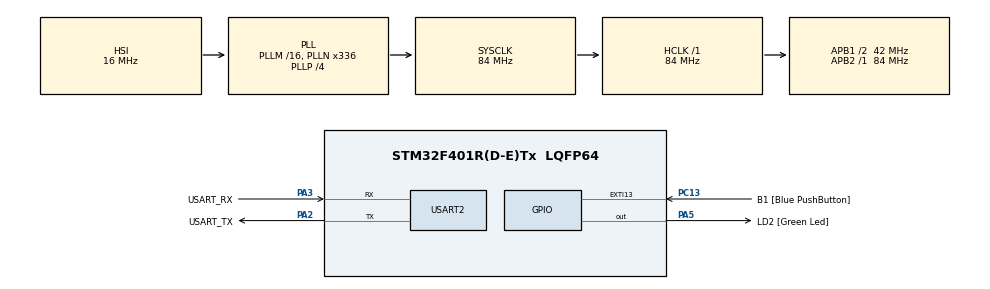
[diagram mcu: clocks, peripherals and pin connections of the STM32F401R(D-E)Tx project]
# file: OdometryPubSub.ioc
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Dma.Request0=USART2_RX
Dma.Request1=USART2_TX
Dma.USART2_RX.0.Direction=DMA_PERIPH_TO_MEMORY
Dma.USART2_RX.0.FIFOMode=DMA_FIFOMODE_DISABLE
Dma.USART2_RX.0.Instance=DMA1_Stream5
Dma.USART2_RX.0.MemDataAlignment=DMA_MDATAALIGN_BYTE
Dma.USART2_RX.0.MemInc=DMA_MINC_ENABLE
Dma.USART2_RX.0.Mode=DMA_CIRCULAR
Dma.USART2_RX.0.PeriphDataAlignment=DMA_PDATAALIGN_BYTE
Dma.USART2_RX.0.PeriphInc=DMA_PINC_DISABLE
Dma.USART2_RX.0.Priority=DMA_PRIORITY_VERY_HIGH
Dma.USART2_TX.1.Direction=DMA_MEMORY_TO_PERIPH
Dma.USART2_TX.1.FIFOMode=DMA_FIFOMODE_DISABLE
Dma.USART2_TX.1.Instance=DMA1_Stream6
Dma.USART2_TX.1.MemDataAlignment=DMA_MDATAALIGN_BYTE
Dma.USART2_TX.1.MemInc=DMA_MINC_ENABLE
Dma.USART2_TX.1.Mode=DMA_NORMAL
Dma.USART2_TX.1.PeriphDataAlignment=DMA_PDATAALIGN_BYTE
Dma.USART2_TX.1.PeriphInc=DMA_PINC_DISABLE
Dma.USART2_TX.1.Priority=DMA_PRIORITY_VERY_HIGH
FREERTOS.Tasks01=defaultTask,24,3000,StartDefaultTask,Default,NULL,Dynamic,NULL,NULL
Mcu.Family=STM32F4
Mcu.Name=STM32F401R(D-E)Tx
Mcu.Package=LQFP64
NVIC.DMA1_Stream5_IRQn=true\:5\:0\:false\:false\:true\:true\:false\:true\:true
NVIC.DMA1_Stream6_IRQn=true\:5\:0\:false\:false\:true\:true\:false\:true\:true
NVIC.PriorityGroup=NVIC_PRIORITYGROUP_4
NVIC.USART2_IRQn=true\:5\:0\:false\:false\:true\:true\:true\:true\:true
PA13.GPIO_Label=TMS
PA13.Mode=Serial_Wire
PA13.Signal=SYS_JTMS-SWDIO
PA14.GPIO_Label=TCK
PA14.Mode=Serial_Wire
PA14.Signal=SYS_JTCK-SWCLK
PA2.GPIO_Label=USART_TX
PA2.GPIO_Mode=GPIO_MODE_AF_PP
PA2.GPIO_PuPd=GPIO_NOPULL
PA2.GPIO_Speed=GPIO_SPEED_FREQ_LOW
PA2.Mode=Asynchronous
PA2.Signal=USART2_TX
PA3.GPIO_Label=USART_RX
PA3.GPIO_Mode=GPIO_MODE_AF_PP
PA3.GPIO_PuPd=GPIO_NOPULL
PA3.GPIO_Speed=GPIO_SPEED_FREQ_LOW
PA3.Mode=Asynchronous
PA3.Signal=USART2_RX
PA5.GPIO_Label=LD2 [Green Led]
PA5.GPIO_Mode=GPIO_MODE_OUTPUT_PP
PA5.GPIO_PuPd=GPIO_NOPULL
PA5.GPIO_Speed=GPIO_SPEED_FREQ_LOW
PA5.Signal=GPIO_Output
PB3.GPIO_Label=SWO
PB3.Signal=SYS_JTDO-SWO
PC13-ANTI_TAMP.GPIO_Label=B1 [Blue PushButton]
PC13-ANTI_TAMP.GPIO_ModeDefaultEXTI=GPIO_MODE_IT_FALLING
PC13-ANTI_TAMP.GPIO_PuPd=GPIO_NOPULL
PC13-ANTI_TAMP.Signal=GPXTI13
PC14-OSC32_IN.Mode=LSE-External-Oscillator
PC14-OSC32_IN.Signal=RCC_OSC32_IN
PC15-OSC32_OUT.Mode=LSE-External-Oscillator
PC15-OSC32_OUT.Signal=RCC_OSC32_OUT
PH0\ -\ OSC_IN.Mode=HSE-External-Oscillator
PH0\ -\ OSC_IN.Signal=RCC_OSC_IN
PH1\ -\ OSC_OUT.Mode=HSE-External-Oscillator
PH1\ -\ OSC_OUT.Signal=RCC_OSC_OUT
ProjectManager.HeapSize=0x200
ProjectManager.StackSize=0x400
ProjectManager.TargetToolchain=STM32CubeIDE
RCC.48MHZClocksFreq_Value=48000000
RCC.AHBFreq_Value=84000000
RCC.APB1CLKDivider=RCC_HCLK_DIV2
RCC.APB1Freq_Value=42000000
RCC.APB1TimFreq_Value=84000000
RCC.APB2Freq_Value=84000000
RCC.APB2TimFreq_Value=84000000
RCC.CortexFreq_Value=84000000
RCC.HCLKFreq_Value=84000000
RCC.HSE_VALUE=8000000
RCC.HSI_VALUE=16000000
RCC.PLLN=336
RCC.PLLP=RCC_PLLP_DIV4
RCC.PLLQ=7
RCC.SYSCLKFreq_VALUE=84000000
RCC.SYSCLKSource=RCC_SYSCLKSOURCE_PLLCLK
RCC.VCOOutputFreq_Value=336000000
USART2.VirtualMode=VM_ASYNC
VP_FREERTOS_VS_CMSIS_V2.Mode=CMSIS_V2
board=NUCLEO-F401RE

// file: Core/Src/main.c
/* USER CODE BEGIN Header */
/**
  ******************************************************************************
  * @file           : main.c
  * @brief          : Main program body
  ******************************************************************************
  * @attention
  *
  * Copyright (c) 2024  * in the root directory of this software component.
  *   * in the root di  * in the root directory of this software component.

  *
  * All rights reserved.
  *
  * This software is licensed under terms that can be found in the LICENSE file
  * in the root directory of this software component.
  * If no LICENSE file comes with this software, it is provided AS-IS.
  *
  ******************************************************************************
  */
/* USER CODE END Header */
#include "main.h"
#include "cmsis_os.h"

/* USER CODE BEGIN Includes */
#include <rcl/rcl.h>
#include <rcl/error_handling.h>
#include <rclc/rclc.h>
#include <rclc/executor.h>
#include <uxr/client/transport.h>
#include <rmw_microxrcedds_c/config.h>
#include <rmw_microros/rmw_microros.h>

#include <std_msgs/msg/int32.h>
#include <nav_msgs/msg/odometry.h>
#include <geometry_msgs/msg/pose.h>
#include <geometry_msgs/msg/twist.h>

/* USER CODE END Includes */

UART_HandleTypeDef huart2;
DMA_HandleTypeDef hdma_usart2_rx;
DMA_HandleTypeDef hdma_usart2_tx;

/* Definitions for defaultTask */
osThreadId_t defaultTaskHandle;
const osThreadAttr_t defaultTask_attributes = {
  .name = "defaultTask",
  .stack_size = 3000 * 4,
  .priority = (osPriority_t) osPriorityNormal,
};

void SystemClock_Config(void);
static void MX_GPIO_Init(void);
static void MX_DMA_Init(void);
static void MX_USART2_UART_Init(void);
void StartDefaultTask(void *argument);

int main(void)
{

  /* MCU Configuration--------------------------------------------------------*/

  /* Reset of all peripherals, Initializes the Flash interface and the Systick. */
  HAL_Init();

  /* Configure the system clock */
  SystemClock_Config();

  /* Initialize all configured peripherals */
  MX_GPIO_Init();
  MX_DMA_Init();
  MX_USART2_UART_Init();

  /* Init scheduler */
  osKernelInitialize();

  /* Create the thread(s) */
  /* creation of defaultTask */
  defaultTaskHandle = osThreadNew(StartDefaultTask, NULL, &defaultTask_attributes);

  /* Start scheduler */
  osKernelStart();

  /* We should never get here as control is now taken by the scheduler */

  /* Infinite loop */
  while (1)
  {

  }
}

void SystemClock_Config(void)
{
  RCC_OscInitTypeDef RCC_OscInitStruct = {0};
  RCC_ClkInitTypeDef RCC_ClkInitStruct = {0};

  /** Configure the main internal regulator output voltage
  */
  __HAL_RCC_PWR_CLK_ENABLE();
  __HAL_PWR_VOLTAGESCALING_CONFIG(PWR_REGULATOR_VOLTAGE_SCALE2);

  /** Initializes the RCC Oscillators according to the specified parameters
  * in the RCC_OscInitTypeDef structure.
  */
  RCC_OscInitStruct.OscillatorType = RCC_OSCILLATORTYPE_HSI;
  RCC_OscInitStruct.HSIState = RCC_HSI_ON;
  RCC_OscInitStruct.HSICalibrationValue = RCC_HSICALIBRATION_DEFAULT;
  RCC_OscInitStruct.PLL.PLLState = RCC_PLL_ON;
  RCC_OscInitStruct.PLL.PLLSource = RCC_PLLSOURCE_HSI;
  RCC_OscInitStruct.PLL.PLLM = 16;
  RCC_OscInitStruct.PLL.PLLN = 336;
  RCC_OscInitStruct.PLL.PLLP = RCC_PLLP_DIV4;
  RCC_OscInitStruct.PLL.PLLQ = 7;
  if (HAL_RCC_OscConfig(&RCC_OscInitStruct) != HAL_OK)
  {
    Error_Handler();
  }

  /** Initializes the CPU, AHB and APB buses clocks
  */
  RCC_ClkInitStruct.ClockType = RCC_CLOCKTYPE_HCLK|RCC_CLOCKTYPE_SYSCLK
                              |RCC_CLOCKTYPE_PCLK1|RCC_CLOCKTYPE_PCLK2;
  RCC_ClkInitStruct.SYSCLKSource = RCC_SYSCLKSOURCE_PLLCLK;
  RCC_ClkInitStruct.AHBCLKDivider = RCC_SYSCLK_DIV1;
  RCC_ClkInitStruct.APB1CLKDivider = RCC_HCLK_DIV2;
  RCC_ClkInitStruct.APB2CLKDivider = RCC_HCLK_DIV1;

  if (HAL_RCC_ClockConfig(&RCC_ClkInitStruct, FLASH_LATENCY_2) != HAL_OK)
  {
    Error_Handler();
  }
}

static void MX_USART2_UART_Init(void)
{

  huart2.Instance = USART2;
  huart2.Init.BaudRate = 115200;
  huart2.Init.WordLength = UART_WORDLENGTH_8B;
  huart2.Init.StopBits = UART_STOPBITS_1;
  huart2.Init.Parity = UART_PARITY_NONE;
  huart2.Init.Mode = UART_MODE_TX_RX;
  huart2.Init.HwFlowCtl = UART_HWCONTROL_NONE;
  huart2.Init.OverSampling = UART_OVERSAMPLING_16;
  if (HAL_UART_Init(&huart2) != HAL_OK)
  {
    Error_Handler();
  }

}

static void MX_DMA_Init(void)
{

  /* DMA controller clock enable */
  __HAL_RCC_DMA1_CLK_ENABLE();

  /* DMA interrupt init */
  /* DMA1_Stream5_IRQn interrupt configuration */
  HAL_NVIC_SetPriority(DMA1_Stream5_IRQn, 5, 0);
  HAL_NVIC_EnableIRQ(DMA1_Stream5_IRQn);
  /* DMA1_Stream6_IRQn interrupt configuration */
  HAL_NVIC_SetPriority(DMA1_Stream6_IRQn, 5, 0);
  HAL_NVIC_EnableIRQ(DMA1_Stream6_IRQn);

}

static void MX_GPIO_Init(void)
{
  GPIO_InitTypeDef GPIO_InitStruct = {0};

  /* GPIO Ports Clock Enable */
  __HAL_RCC_GPIOC_CLK_ENABLE();
  __HAL_RCC_GPIOH_CLK_ENABLE();
  __HAL_RCC_GPIOA_CLK_ENABLE();
  __HAL_RCC_GPIOB_CLK_ENABLE();

  /*Configure GPIO pin Output Level */
  HAL_GPIO_WritePin(LD2_GPIO_Port, LD2_Pin, GPIO_PIN_RESET);

  /*Configure GPIO pin : B1_Pin */
  GPIO_InitStruct.Pin = B1_Pin;
  GPIO_InitStruct.Mode = GPIO_MODE_IT_FALLING;
  GPIO_InitStruct.Pull = GPIO_NOPULL;
  HAL_GPIO_Init(B1_GPIO_Port, &GPIO_InitStruct);

  /*Configure GPIO pin : LD2_Pin */
  GPIO_InitStruct.Pin = LD2_Pin;
  GPIO_InitStruct.Mode = GPIO_MODE_OUTPUT_PP;
  GPIO_InitStruct.Pull = GPIO_NOPULL;
  GPIO_InitStruct.Speed = GPIO_SPEED_FREQ_LOW;
  HAL_GPIO_Init(LD2_GPIO_Port, &GPIO_InitStruct);

}

/* USER CODE BEGIN 4 */
bool cubemx_transport_open(struct uxrCustomTransport * transport);
bool cubemx_transport_close(struct uxrCustomTransport * transport);
size_t cubemx_transport_write(struct uxrCustomTransport* transport, const uint8_t * buf, size_t len, uint8_t * err);
size_t cubemx_transport_read(struct uxrCustomTransport* transport, uint8_t* buf, size_t len, int timeout, uint8_t* err);

void * microros_allocate(size_t size, void * state);
void microros_deallocate(void * pointer, void * state);
void * microros_reallocate(void * pointer, size_t size, void * state);
void * microros_zero_allocate(size_t number_of_elements, size_t size_of_element, void * state);

rcl_publisher_t odometry_publisher;
geometry_msgs__msg__Twist odometry_msg ;

void subscription_callback(const void * msgin){
	    // Cast received message to used type
	const geometry_msgs__msg__Twist * incoming_msg = (const geometry_msgs__msg__Twist *)msgin;

	    // Create a local copy for publishing to avoid corruption
	    odometry_msg.linear.x = incoming_msg->linear.x * 2;
	    odometry_msg.linear.y = incoming_msg->linear.y * 2;
	    odometry_msg.linear.z = incoming_msg->linear.z * 2;

	    odometry_msg.angular.x = incoming_msg->angular.x * 2;
	    odometry_msg.angular.y = incoming_msg->angular.y * 2;
	    odometry_msg.angular.z = incoming_msg->angular.z * 2;

	    // Publish modified message
	    rcl_ret_t ret = rcl_publish(&odometry_publisher, &odometry_msg, NULL);
}
/* USER CODE END 4 */

void StartDefaultTask(void *argument)
{
  /* USER CODE BEGIN 5 */

	  // micro-ROS configuration
	  rmw_uros_set_custom_transport(
	    true,
	    (void *) &huart2,
	    cubemx_transport_open,
	    cubemx_transport_close,
	    cubemx_transport_write,
	    cubemx_transport_read);

	  rcl_allocator_t freeRTOS_allocator = rcutils_get_zero_initialized_allocator();
	  freeRTOS_allocator.allocate = microros_allocate;
	  freeRTOS_allocator.deallocate = microros_deallocate;
	  freeRTOS_allocator.reallocate = microros_reallocate;
	  freeRTOS_allocator.zero_allocate =  microros_zero_allocate;

	      //SUBSCRIPTION

	      rcl_subscription_t subscriber;
	      geometry_msgs__msg__Twist submsg;
	      rclc_support_t support;
	      rclc_executor_t executor;
	      rcl_allocator_t allocator;
	      rcl_node_t nodesub;

	      allocator = rcl_get_default_allocator();

	      	    // create init_options
	      rclc_support_init(&support, 0, NULL, &allocator);
	      rclc_executor_init(&executor, &support.context, 1, &allocator);

	      	    // create node
	      rclc_node_init_default(&nodesub, "sub_node", "", &support);

	      	    // create subscription
	      rclc_subscription_init_default(
	      	        &subscriber,
	      	        &nodesub,
	      	        ROSIDL_GET_MSG_TYPE_SUPPORT(geometry_msgs, msg, Twist),
	      	        "stm32_sub");
	      	    rclc_executor_add_subscription(
	      	      &executor, &subscriber, &submsg,
	      	      &subscription_callback, ON_NEW_DATA);

	      	  //PUBLISH

	      	  //create init_options

	      	      // Initialize the publisher with Odometry message type
	      	      rclc_publisher_init_default(
	      	          &odometry_publisher,
	      	          &nodesub,
	      	          ROSIDL_GET_MSG_TYPE_SUPPORT(geometry_msgs, msg, Twist),
	      	          "stm32_pub"
	      	      );

	  while(1)
	  {
		  rclc_executor_spin(&executor);
		  osDelay(10);
	  }
  /* USER CODE END 5 */
}

void Error_Handler(void)
{
  __disable_irq();
  while (1)
  {
  }
}
